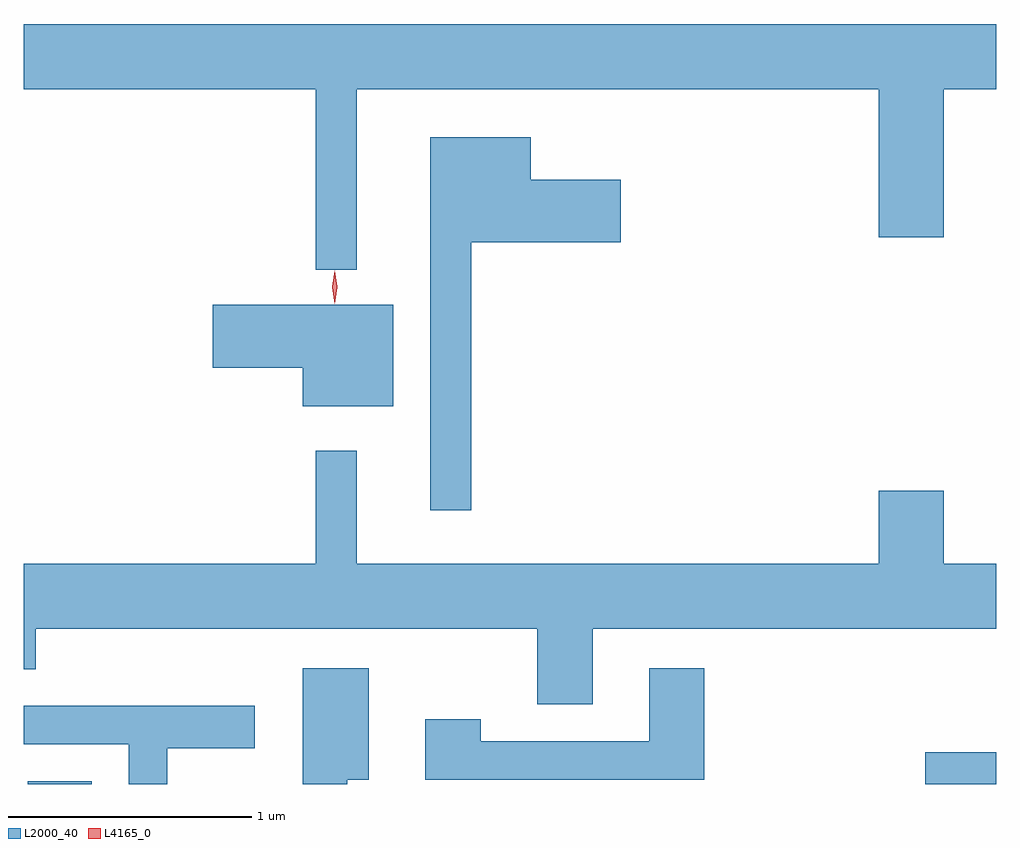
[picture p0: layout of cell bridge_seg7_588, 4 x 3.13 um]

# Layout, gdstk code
import gdstk
lib = gdstk.Library(unit=1e-6, precision=1e-09)
def R(c, l, rs):  # rectangles x0, y0, x1, y1
    for r in rs: c.add(gdstk.rectangle(r[:2], r[2:], *l))
def P(c, l, *ps):  # polygons
    for p in ps: c.add(gdstk.Polygon(p, *l))
L2000_40 = (2000, 40)
L4165_0 = (4165, 0)

bridge_seg7_588 = lib.new_cell('bridge_seg7_588')
R(bridge_seg7_588, L2000_40, [(691.096,1795.818,691.359,1795.829), (694.786,1795.818,695.079,1795.949)])
P(bridge_seg7_588, L2000_40, [(692.449,1798.676),(694.596,1798.676),(694.596,1798.066),(694.864,1798.066),(694.864,1798.676),(695.079,1798.676),(695.079,1798.944),(691.079,1798.944),(691.079,1798.676),(692.281,1798.676),(692.281,1797.933),(692.449,1797.933)],
  [(692.919,1798.046),(693.534,1798.046),(693.534,1798.304),(693.164,1798.304),(693.164,1798.479),(692.751,1798.479),(692.751,1796.943),(692.919,1796.943)],
  [(692.599,1797.789),(691.856,1797.789),(691.856,1797.531),(692.226,1797.531),(692.226,1797.371),(692.599,1797.371)],
  [(693.419,1796.456),(695.079,1796.456),(695.079,1796.724),(694.864,1796.724),(694.864,1797.024),(694.596,1797.024),(694.596,1796.724),(692.449,1796.724),(692.449,1797.188),(692.281,1797.188),(692.281,1796.724),(691.079,1796.724),(691.079,1796.291),(691.129,1796.291),(691.129,1796.456),(693.191,1796.456),(693.191,1796.146),(693.419,1796.146)],
  [(693.879,1796.294),(693.651,1796.294),(693.651,1795.994),(692.959,1795.994),(692.959,1796.084),(692.731,1796.084),(692.731,1795.836),(693.879,1795.836)],
  [(692.409,1795.836),(692.499,1795.836),(692.499,1796.294),(692.226,1796.294),(692.226,1795.818),(692.409,1795.818)],
  [(691.669,1795.966),(692.029,1795.966),(692.029,1796.139),(691.079,1796.139),(691.079,1795.981),(691.511,1795.981),(691.511,1795.818),(691.669,1795.818)])
P(bridge_seg7_588, L4165_0, [(692.358,1797.794),(692.358,1797.794),(692.348,1797.862),(692.358,1797.93),(692.358,1797.93),(692.359,1797.93),(692.368,1797.862),(692.359,1797.794)],
  [(692.358,1797.8),(692.358,1797.8),(692.348,1797.863),(692.358,1797.926),(692.358,1797.927),(692.359,1797.926),(692.368,1797.863),(692.359,1797.8)])

lib.write_gds('bridge_seg7_588.gds')
